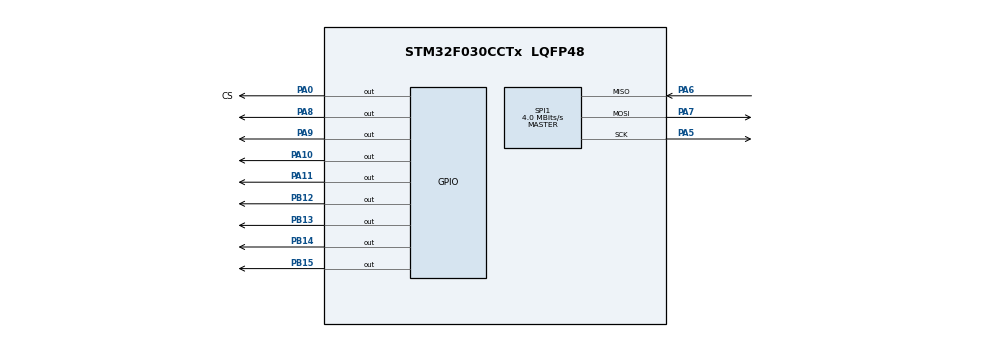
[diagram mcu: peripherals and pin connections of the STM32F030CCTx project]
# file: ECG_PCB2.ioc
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Mcu.Family=STM32F0
Mcu.Name=STM32F030CCTx
Mcu.Package=LQFP48
PA0.GPIO_Label=CS
PA0.PinState=GPIO_PIN_SET
PA0.Signal=GPIO_Output
PA10.Signal=GPIO_Output
PA11.Signal=GPIO_Output
PA13.Mode=Serial_Wire
PA13.Signal=SYS_SWDIO
PA14.Mode=Serial_Wire
PA14.Signal=SYS_SWCLK
PA5.Mode=Full_Duplex_Master
PA5.Signal=SPI1_SCK
PA6.Mode=Full_Duplex_Master
PA6.Signal=SPI1_MISO
PA7.Mode=Full_Duplex_Master
PA7.Signal=SPI1_MOSI
PA8.Signal=GPIO_Output
PA9.Signal=GPIO_Output
PB12.Signal=GPIO_Output
PB13.Signal=GPIO_Output
PB14.Signal=GPIO_Output
PB15.Signal=GPIO_Output
ProjectManager.HeapSize=0x200
ProjectManager.StackSize=0x400
ProjectManager.TargetToolchain=STM32CubeIDE
SPI1.CalculateBaudRate=4.0 MBits/s
SPI1.DataSize=SPI_DATASIZE_8BIT
SPI1.Direction=SPI_DIRECTION_2LINES
SPI1.Mode=SPI_MODE_MASTER
SPI1.VirtualType=VM_MASTER
board=custom

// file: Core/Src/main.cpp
/* USER CODE BEGIN Header */
/**
  ******************************************************************************
  * @file           : main.c
  * @brief          : Main program body
  ******************************************************************************
  * @attention
  *
  * Copyright (c) 2025 STMicroelectronics.
  * All rights reserved.
  *
  * This software is licensed under terms that can be found in the LICENSE file
  * in the root directory of this software component.
  * If no LICENSE file comes with this software, it is provided AS-IS.
  *
  ******************************************************************************
  */
/* USER CODE END Header */
#include "main.h"

/* USER CODE BEGIN Includes */
#include "MUXEDPOTS_HPP.hpp"
#include "weights.hpp"
/* USER CODE END Includes */

SPI_HandleTypeDef hspi1;

void SystemClock_Config(void);
static void MX_GPIO_Init(void);
static void MX_SPI1_Init(void);

int main(void)
{

  /* MCU Configuration--------------------------------------------------------*/

  /* Reset of all peripherals, Initializes the Flash interface and the Systick. */
  HAL_Init();

  /* USER CODE BEGIN Init */
  HAL_Delay(10); //delay to ensure HAL sets up correctly
  /* USER CODE END Init */

  /* Configure the system clock */
  SystemClock_Config();

  /* Initialize all configured peripherals */
  MX_GPIO_Init();
  MX_SPI1_Init();
  /* USER CODE BEGIN 2 */
  HAL_Delay(1);
  // --- Initialize the CS pin ---
        MuxedPots pot(&hspi1, GPIOA, GPIO_PIN_0); //initializes the CS pin
        pot.shutdownAll(); //reset all before writing

        // --- PotSet layer 1 ---
        for(uint8_t col = 1; col < 7; col++){
            for(uint8_t row = 1; row < 13; row++){
                if(row < 10)
                    pot.setBit(100+(10*col)+row, layer1_weights[row-1][col-1]);
                else
                    pot.setBit(1000+(100*col)+row, layer1_weights[row-1][col-1]);
            }
        }

        // --- PotSet layer 2 ---
        for(uint8_t col = 1; col < 7; col++){
            for(uint8_t row = 1; row < 7; row++){
                pot.setBit(200 + 10*col + row, layer2_weights[row-1][col-1]);
            }
        }

        // --- PotSet layer 3 ---
        for(uint8_t col = 1; col < 7; col++){
            for(uint8_t row = 1; row < 7; row++){
                pot.setBit(300 + 10*col + row, layer3_weights[row-1][col-1]);
            }
        }

        // --- PotSet layer 4 ---
        for(uint8_t col = 1; col < 7; col++){
            for(uint8_t row = 1; row < 7; row++){
                pot.setBit(400 + 10*col + row, layer4_weights[row-1][col-1]);
            }
        }

        // --- PotSet layer 5 ---
        for(uint8_t col = 1; col < 3; col++){
            for(uint8_t row = 1; row < 7; row++){
                pot.setBit(500 + 10*col + row, layer5_weights[row-1][col-1]);
            }
        }
  /* USER CODE END 2 */

  /* Infinite loop */
  while (1)
  {

  }
}

void SystemClock_Config(void)
{
  RCC_OscInitTypeDef RCC_OscInitStruct = {0};
  RCC_ClkInitTypeDef RCC_ClkInitStruct = {0};

  /** Initializes the RCC Oscillators according to the specified parameters
  * in the RCC_OscInitTypeDef structure.
  */
  RCC_OscInitStruct.OscillatorType = RCC_OSCILLATORTYPE_HSI;
  RCC_OscInitStruct.HSIState = RCC_HSI_ON;
  RCC_OscInitStruct.HSICalibrationValue = RCC_HSICALIBRATION_DEFAULT;
  RCC_OscInitStruct.PLL.PLLState = RCC_PLL_NONE;
  if (HAL_RCC_OscConfig(&RCC_OscInitStruct) != HAL_OK)
  {
    Error_Handler();
  }

  /** Initializes the CPU, AHB and APB buses clocks
  */
  RCC_ClkInitStruct.ClockType = RCC_CLOCKTYPE_HCLK|RCC_CLOCKTYPE_SYSCLK
                              |RCC_CLOCKTYPE_PCLK1;
  RCC_ClkInitStruct.SYSCLKSource = RCC_SYSCLKSOURCE_HSI;
  RCC_ClkInitStruct.AHBCLKDivider = RCC_SYSCLK_DIV1;
  RCC_ClkInitStruct.APB1CLKDivider = RCC_HCLK_DIV1;

  if (HAL_RCC_ClockConfig(&RCC_ClkInitStruct, FLASH_LATENCY_0) != HAL_OK)
  {
    Error_Handler();
  }
}

static void MX_SPI1_Init(void)
{

  /* SPI1 parameter configuration*/
  hspi1.Instance = SPI1;
  hspi1.Init.Mode = SPI_MODE_MASTER;
  hspi1.Init.Direction = SPI_DIRECTION_2LINES;
  hspi1.Init.DataSize = SPI_DATASIZE_8BIT;
  hspi1.Init.CLKPolarity = SPI_POLARITY_LOW;
  hspi1.Init.CLKPhase = SPI_PHASE_1EDGE;
  hspi1.Init.NSS = SPI_NSS_SOFT;
  hspi1.Init.BaudRatePrescaler = SPI_BAUDRATEPRESCALER_2;
  hspi1.Init.FirstBit = SPI_FIRSTBIT_MSB;
  hspi1.Init.TIMode = SPI_TIMODE_DISABLE;
  hspi1.Init.CRCCalculation = SPI_CRCCALCULATION_DISABLE;
  hspi1.Init.CRCPolynomial = 7;
  hspi1.Init.CRCLength = SPI_CRC_LENGTH_DATASIZE;
  hspi1.Init.NSSPMode = SPI_NSS_PULSE_ENABLE;
  if (HAL_SPI_Init(&hspi1) != HAL_OK)
  {
    Error_Handler();
  }

}

static void MX_GPIO_Init(void)
{
  GPIO_InitTypeDef GPIO_InitStruct = {0};

  /* GPIO Ports Clock Enable */
  __HAL_RCC_GPIOA_CLK_ENABLE();
  __HAL_RCC_GPIOB_CLK_ENABLE();

  /*Configure GPIO pin Output Level */
  HAL_GPIO_WritePin(CS_GPIO_Port, CS_Pin, GPIO_PIN_SET);

  /*Configure GPIO pin Output Level */
  HAL_GPIO_WritePin(GPIOB, GPIO_PIN_12|GPIO_PIN_13|GPIO_PIN_14|GPIO_PIN_15, GPIO_PIN_RESET);

  /*Configure GPIO pin Output Level */
  HAL_GPIO_WritePin(GPIOA, GPIO_PIN_8|GPIO_PIN_9|GPIO_PIN_10|GPIO_PIN_11, GPIO_PIN_RESET);

  /*Configure GPIO pins : CS_Pin PA8 PA9 PA10
                           PA11 */
  GPIO_InitStruct.Pin = CS_Pin|GPIO_PIN_8|GPIO_PIN_9|GPIO_PIN_10
                          |GPIO_PIN_11;
  GPIO_InitStruct.Mode = GPIO_MODE_OUTPUT_PP;
  GPIO_InitStruct.Pull = GPIO_NOPULL;
  GPIO_InitStruct.Speed = GPIO_SPEED_FREQ_LOW;
  HAL_GPIO_Init(GPIOA, &GPIO_InitStruct);

  /*Configure GPIO pins : PB12 PB13 PB14 PB15 */
  GPIO_InitStruct.Pin = GPIO_PIN_12|GPIO_PIN_13|GPIO_PIN_14|GPIO_PIN_15;
  GPIO_InitStruct.Mode = GPIO_MODE_OUTPUT_PP;
  GPIO_InitStruct.Pull = GPIO_NOPULL;
  GPIO_InitStruct.Speed = GPIO_SPEED_FREQ_LOW;
  HAL_GPIO_Init(GPIOB, &GPIO_InitStruct);

}

void Error_Handler(void)
{
  __disable_irq();
  while (1)
  {
  }
}
